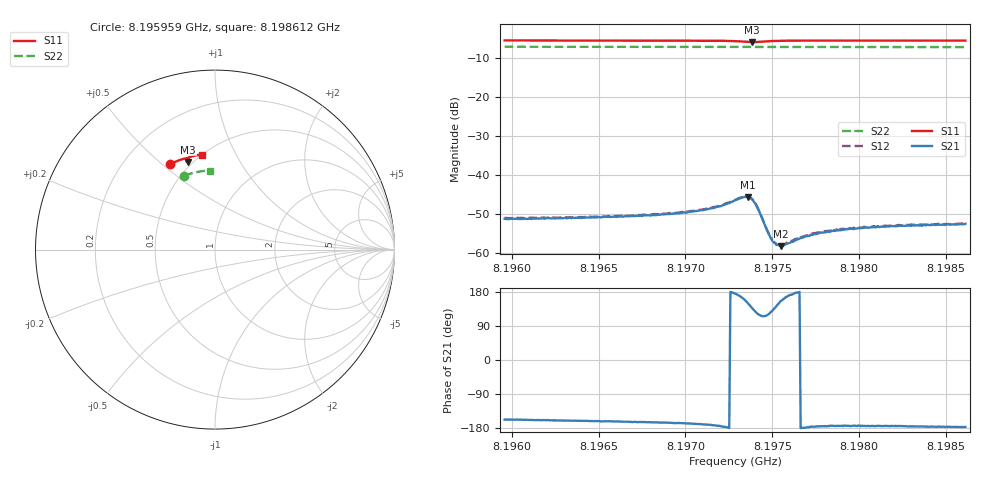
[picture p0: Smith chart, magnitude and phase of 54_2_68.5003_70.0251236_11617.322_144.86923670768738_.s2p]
#  HZ  S  RI  R  50.00
! Rohde & Schwarz Vector Network Analyzer
! Rohde-Schwarz,ZNB20-2Port,1311601062101988,3.16
! Created: UTC 3/20/2024, 4:50:57 PM
! freq[Hz]  re:S11  im:S11  re:S21  im:S21  re:S12  im:S12  re:S22  im:S22
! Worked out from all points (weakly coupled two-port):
!   401 points, 8.195959 GHz to 8.198612 GHz, reference 50 ohm
!   highest |S21| = -45.57 dB at 8.197358 GHz (marker M1); lowest = -58.2 dB at 8.19755 GHz (marker M2)
!   lowest |S11| = -5.8 dB at 8.197385 GHz (marker M3), VSWR 3.09, Z = 23.7 + j31.3 ohm
!   |S11| at or under -10 dB: nowhere
!   |S22| runs from -7.1 to -7.0 dB; largest |S21 - S12| = 0.00026
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8.1959586e9  -0.2494 0.4759  -0.00255 -0.00106  -0.00263 -0.00099  -0.171 0.4118
8.1964029e9  -0.2203 0.4894  -0.00267 -0.000965  -0.00276 -0.000856  -0.1475 0.42
8.1968473e9  -0.1897 0.5012  -0.00301 -0.000827  -0.00307 -0.000707  -0.1236 0.4268
8.1969468e9  -0.1823 0.5036  -0.00315 -0.000759  -0.00322 -0.00067  -0.118 0.4282
8.1971126e9  -0.1688 0.5069  -0.00357 -0.000623  -0.00365 -0.00049  -0.109 0.4303
8.1972055e9  -0.1596 0.5077  -0.00402 -0.000346  -0.0041 -0.000211  -0.104 0.4313
8.1972851e9  -0.15 0.505  -0.00473 0.000381  -0.00478 0.00058  -0.0994 0.4322
8.1973315e9  -0.145 0.4988  -0.00495 0.00156  -0.00497 0.00182  -0.0967 0.4325
8.1973581e9  -0.1454 0.4931  -0.00459 0.00259  -0.00458 0.00283  -0.0955 0.4326
8.1973846e9  -0.1499 0.4886  -0.00351 0.00335  -0.00344 0.00356  -0.0942 0.4327
8.1973978e9  -0.1533 0.4881  -0.00283 0.00342  -0.00271 0.00361  -0.0936 0.4329
8.1974177e9  -0.1579 0.4901  -0.0019 0.00313  -0.00179 0.00328  -0.0926 0.4333
8.1974774e9  -0.1604 0.5011  -0.000907 0.00154  -0.000877 0.00162  -0.0893 0.434
8.1974973e9  -0.1591 0.5039  -0.000922 0.00114  -0.000922 0.00122  -0.0882 0.4343
8.1975106e9  -0.1579 0.5055  -0.000969 0.000951  -0.000958 0.00101  -0.0875 0.4345
8.1975239e9  -0.1568 0.507  -0.001 0.000772  -0.00102 0.000845  -0.0867 0.4347
8.1975504e9  -0.1543 0.509  -0.00112 0.000492  -0.00114 0.000574  -0.0852 0.4348
8.1976565e9  -0.1448 0.5143  -0.00154 1.19e-05  -0.00153 8.4e-05  -0.0793 0.4361
8.1977295e9  -0.1387 0.5166  -0.0017 -0.000134  -0.00179 -4.71e-05  -0.0752 0.4366
8.1979285e9  -0.1234 0.5208  -0.00202 -0.000229  -0.00205 -0.000152  -0.0642 0.438
8.1981739e9  -0.1055 0.5246  -0.00219 -0.000204  -0.00225 -0.000136  -0.0503 0.4394
8.1986116e9  -0.0741 0.5298  -0.00238 -0.000136  -0.00242 -2.47e-05  -0.0255 0.4407
